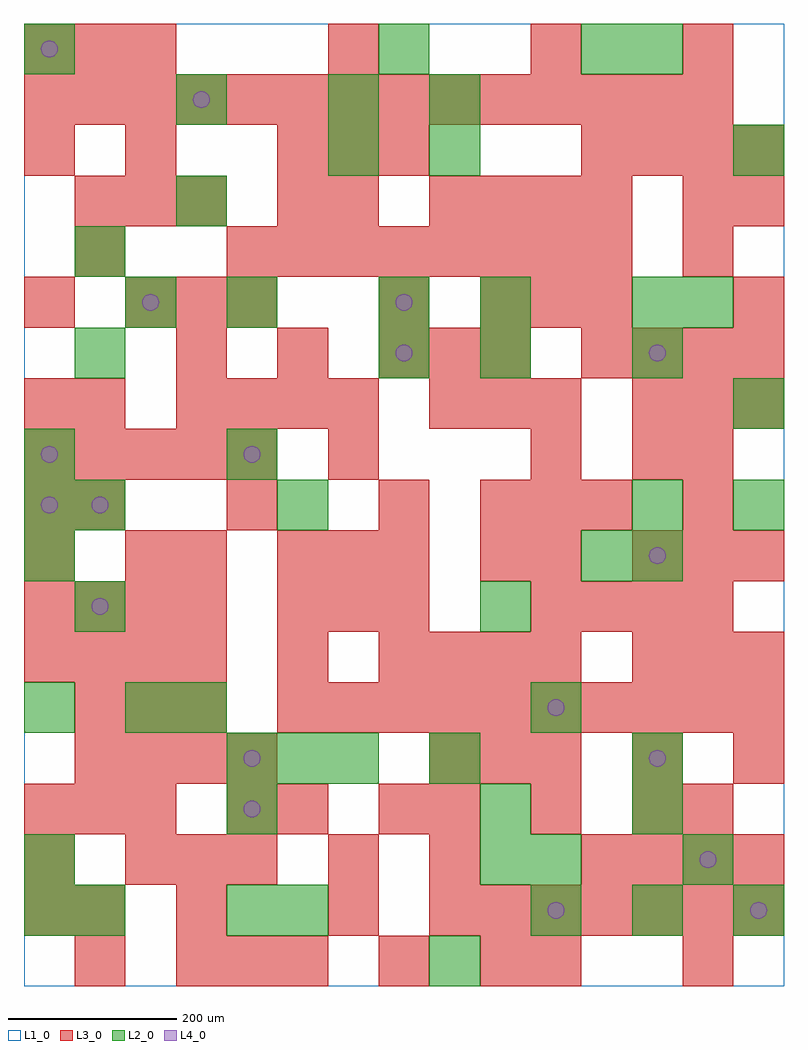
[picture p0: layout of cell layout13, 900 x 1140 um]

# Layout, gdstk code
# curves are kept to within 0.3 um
import gdstk
lib = gdstk.Library(unit=1e-6, precision=1e-09)
def R(c, l, rs):  # rectangles x0, y0, x1, y1
    for r in rs: c.add(gdstk.rectangle(r[:2], r[2:], *l))
def A(c, l, x, y, w, h, nx, ny, dx, dy):  # array of equal rectangles
    R(c, l, [(x+i*dx, y+j*dy, x+i*dx+w, y+j*dy+h) for i in range(nx) for j in range(ny)])
def P(c, l, *ps):  # polygons
    for p in ps: c.add(gdstk.Polygon(p, *l))
L1_0 = (1, 0)
L2_0 = (2, 0)
L3_0 = (3, 0)
L4_0 = (4, 0)

layout13 = lib.new_cell('layout13')
R(layout13, L1_0, [(0,0,900,1140)])
A(layout13, L2_0, 600, 60, 60, 60, 3, 1, 120, 0)
A(layout13, L2_0, 0, 120, 60, 60, 1, 3, 0, 180)
A(layout13, L2_0, 240, 240, 60, 60, 3, 1, 60, 0)
R(layout13, L2_0, [(480,0,540,60), (0,60,60,120), (60,60,120,120), (240,60,300,120), (300,60,360,120), (540,120,600,180), (600,120,660,180), (780,120,840,180), (240,180,300,240), (540,180,600,240), (720,180,780,240), (480,240,540,300), (720,240,780,300), (120,300,180,360), (180,300,240,360), (600,300,660,360), (60,420,120,480), (540,420,600,480), (660,480,720,540), (720,480,780,540), (0,540,60,600), (60,540,120,600), (300,540,360,600), (720,540,780,600), (840,540,900,600), (0,600,60,660), (240,600,300,660), (840,660,900,720), (60,720,120,780), (420,720,480,780), (540,720,600,780), (720,720,780,780), (120,780,180,840), (240,780,300,840), (420,780,480,840), (540,780,600,840), (720,780,780,840), (780,780,840,840), (60,840,120,900), (180,900,240,960), (360,960,420,1020), (480,960,540,1020), (840,960,900,1020), (180,1020,240,1080), (360,1020,420,1080), (480,1020,540,1080), (0,1080,60,1140), (420,1080,480,1140), (660,1080,720,1140), (720,1080,780,1140)])
A(layout13, L3_0, 180, 0, 60, 60, 3, 1, 60, 0)
A(layout13, L3_0, 480, 60, 60, 60, 7, 1, 60, 0)
A(layout13, L3_0, 120, 120, 60, 60, 3, 2, 60, 660)
A(layout13, L3_0, 660, 120, 60, 60, 4, 2, 60, 600)
A(layout13, L3_0, 0, 180, 60, 60, 3, 2, 60, 900)
A(layout13, L3_0, 480, 180, 60, 60, 3, 1, 120, 0)
A(layout13, L3_0, 60, 240, 60, 60, 4, 1, 60, 0)
A(layout13, L3_0, 480, 240, 60, 60, 3, 2, 60, 420)
A(layout13, L3_0, 60, 300, 60, 60, 3, 2, 60, 600)
A(layout13, L3_0, 300, 300, 60, 60, 10, 1, 60, 0)
A(layout13, L3_0, 0, 360, 60, 60, 4, 2, 60, 60)
A(layout13, L3_0, 420, 360, 60, 60, 4, 1, 60, 0)
A(layout13, L3_0, 720, 360, 60, 60, 3, 2, 60, 120)
A(layout13, L3_0, 300, 420, 60, 60, 3, 2, 60, 60)
A(layout13, L3_0, 600, 420, 60, 60, 4, 1, 60, 0)
A(layout13, L3_0, 0, 540, 60, 60, 1, 3, 0, 120)
A(layout13, L3_0, 60, 540, 60, 60, 3, 1, 180, 0)
A(layout13, L3_0, 540, 540, 60, 60, 3, 2, 60, 240)
A(layout13, L3_0, 0, 600, 60, 60, 5, 1, 60, 0)
A(layout13, L3_0, 180, 660, 60, 60, 4, 1, 60, 0)
A(layout13, L3_0, 720, 660, 60, 60, 3, 1, 60, 0)
A(layout13, L3_0, 180, 720, 60, 60, 3, 1, 120, 0)
A(layout13, L3_0, 240, 840, 60, 60, 8, 1, 60, 0)
A(layout13, L3_0, 480, 900, 60, 60, 4, 1, 60, 0)
A(layout13, L3_0, 300, 960, 60, 60, 3, 1, 60, 0)
A(layout13, L3_0, 660, 960, 60, 60, 4, 1, 60, 0)
A(layout13, L3_0, 0, 1020, 60, 60, 14, 1, 60, 0)
R(layout13, L3_0, [(60,0,120,60), (420,0,480,60), (540,0,600,60), (600,0,660,60), (780,0,840,60), (0,60,60,120), (60,60,120,120), (180,60,240,120), (360,60,420,120), (0,120,60,180), (360,120,420,180), (480,120,540,180), (240,180,300,240), (300,180,360,240), (420,180,480,240), (780,180,840,240), (720,240,780,300), (840,240,900,300), (300,360,360,420), (0,480,60,540), (120,480,180,540), (180,480,240,540), (540,480,600,540), (600,480,660,540), (780,540,840,600), (360,600,420,660), (600,600,660,660), (720,600,780,660), (780,600,840,660), (60,660,120,720), (480,720,540,780), (540,720,600,780), (420,780,480,840), (840,780,900,840), (60,840,120,900), (780,840,840,900), (300,900,360,960), (360,900,420,960), (780,900,840,960), (840,900,900,960), (0,960,60,1020), (120,960,180,1020), (360,1080,420,1140), (600,1080,660,1140), (780,1080,840,1140)])
P(layout13, L4_0, [(40,570),(39.239,573.827),(37.071,577.071),(33.827,579.239),(30,580),(26.173,579.239),(22.929,577.071),(20.761,573.827),(20,570),(20.761,566.173),(22.929,562.929),(26.173,560.761),(30,560),(33.827,560.761),(37.071,562.929),(39.239,566.173)],
  [(40,630),(39.239,633.827),(37.071,637.071),(33.827,639.239),(30,640),(26.173,639.239),(22.929,637.071),(20.761,633.827),(20,630),(20.761,626.173),(22.929,622.929),(26.173,620.761),(30,620),(33.827,620.761),(37.071,622.929),(39.239,626.173)],
  [(40,1110),(39.239,1113.827),(37.071,1117.071),(33.827,1119.239),(30,1120),(26.173,1119.239),(22.929,1117.071),(20.761,1113.827),(20,1110),(20.761,1106.173),(22.929,1102.929),(26.173,1100.761),(30,1100),(33.827,1100.761),(37.071,1102.929),(39.239,1106.173)],
  [(100,450),(99.239,453.827),(97.071,457.071),(93.827,459.239),(90,460),(86.173,459.239),(82.929,457.071),(80.761,453.827),(80,450),(80.761,446.173),(82.929,442.929),(86.173,440.761),(90,440),(93.827,440.761),(97.071,442.929),(99.239,446.173)],
  [(100,570),(99.239,573.827),(97.071,577.071),(93.827,579.239),(90,580),(86.173,579.239),(82.929,577.071),(80.761,573.827),(80,570),(80.761,566.173),(82.929,562.929),(86.173,560.761),(90,560),(93.827,560.761),(97.071,562.929),(99.239,566.173)],
  [(160,810),(159.239,813.827),(157.071,817.071),(153.827,819.239),(150,820),(146.173,819.239),(142.929,817.071),(140.761,813.827),(140,810),(140.761,806.173),(142.929,802.929),(146.173,800.761),(150,800),(153.827,800.761),(157.071,802.929),(159.239,806.173)],
  [(220,1050),(219.239,1053.827),(217.071,1057.071),(213.827,1059.239),(210,1060),(206.173,1059.239),(202.929,1057.071),(200.761,1053.827),(200,1050),(200.761,1046.173),(202.929,1042.929),(206.173,1040.761),(210,1040),(213.827,1040.761),(217.071,1042.929),(219.239,1046.173)],
  [(280,210),(279.239,213.827),(277.071,217.071),(273.827,219.239),(270,220),(266.173,219.239),(262.929,217.071),(260.761,213.827),(260,210),(260.761,206.173),(262.929,202.929),(266.173,200.761),(270,200),(273.827,200.761),(277.071,202.929),(279.239,206.173)],
  [(280,270),(279.239,273.827),(277.071,277.071),(273.827,279.239),(270,280),(266.173,279.239),(262.929,277.071),(260.761,273.827),(260,270),(260.761,266.173),(262.929,262.929),(266.173,260.761),(270,260),(273.827,260.761),(277.071,262.929),(279.239,266.173)],
  [(280,630),(279.239,633.827),(277.071,637.071),(273.827,639.239),(270,640),(266.173,639.239),(262.929,637.071),(260.761,633.827),(260,630),(260.761,626.173),(262.929,622.929),(266.173,620.761),(270,620),(273.827,620.761),(277.071,622.929),(279.239,626.173)],
  [(460,750),(459.239,753.827),(457.071,757.071),(453.827,759.239),(450,760),(446.173,759.239),(442.929,757.071),(440.761,753.827),(440,750),(440.761,746.173),(442.929,742.929),(446.173,740.761),(450,740),(453.827,740.761),(457.071,742.929),(459.239,746.173)],
  [(460,810),(459.239,813.827),(457.071,817.071),(453.827,819.239),(450,820),(446.173,819.239),(442.929,817.071),(440.761,813.827),(440,810),(440.761,806.173),(442.929,802.929),(446.173,800.761),(450,800),(453.827,800.761),(457.071,802.929),(459.239,806.173)],
  [(640,90),(639.239,93.827),(637.071,97.071),(633.827,99.239),(630,100),(626.173,99.239),(622.929,97.071),(620.761,93.827),(620,90),(620.761,86.173),(622.929,82.929),(626.173,80.761),(630,80),(633.827,80.761),(637.071,82.929),(639.239,86.173)],
  [(640,330),(639.239,333.827),(637.071,337.071),(633.827,339.239),(630,340),(626.173,339.239),(622.929,337.071),(620.761,333.827),(620,330),(620.761,326.173),(622.929,322.929),(626.173,320.761),(630,320),(633.827,320.761),(637.071,322.929),(639.239,326.173)],
  [(760,270),(759.239,273.827),(757.071,277.071),(753.827,279.239),(750,280),(746.173,279.239),(742.929,277.071),(740.761,273.827),(740,270),(740.761,266.173),(742.929,262.929),(746.173,260.761),(750,260),(753.827,260.761),(757.071,262.929),(759.239,266.173)],
  [(760,510),(759.239,513.827),(757.071,517.071),(753.827,519.239),(750,520),(746.173,519.239),(742.929,517.071),(740.761,513.827),(740,510),(740.761,506.173),(742.929,502.929),(746.173,500.761),(750,500),(753.827,500.761),(757.071,502.929),(759.239,506.173)],
  [(760,750),(759.239,753.827),(757.071,757.071),(753.827,759.239),(750,760),(746.173,759.239),(742.929,757.071),(740.761,753.827),(740,750),(740.761,746.173),(742.929,742.929),(746.173,740.761),(750,740),(753.827,740.761),(757.071,742.929),(759.239,746.173)],
  [(820,150),(819.239,153.827),(817.071,157.071),(813.827,159.239),(810,160),(806.173,159.239),(802.929,157.071),(800.761,153.827),(800,150),(800.761,146.173),(802.929,142.929),(806.173,140.761),(810,140),(813.827,140.761),(817.071,142.929),(819.239,146.173)],
  [(880,90),(879.239,93.827),(877.071,97.071),(873.827,99.239),(870,100),(866.173,99.239),(862.929,97.071),(860.761,93.827),(860,90),(860.761,86.173),(862.929,82.929),(866.173,80.761),(870,80),(873.827,80.761),(877.071,82.929),(879.239,86.173)])

lib.write_gds('layout13.gds')
